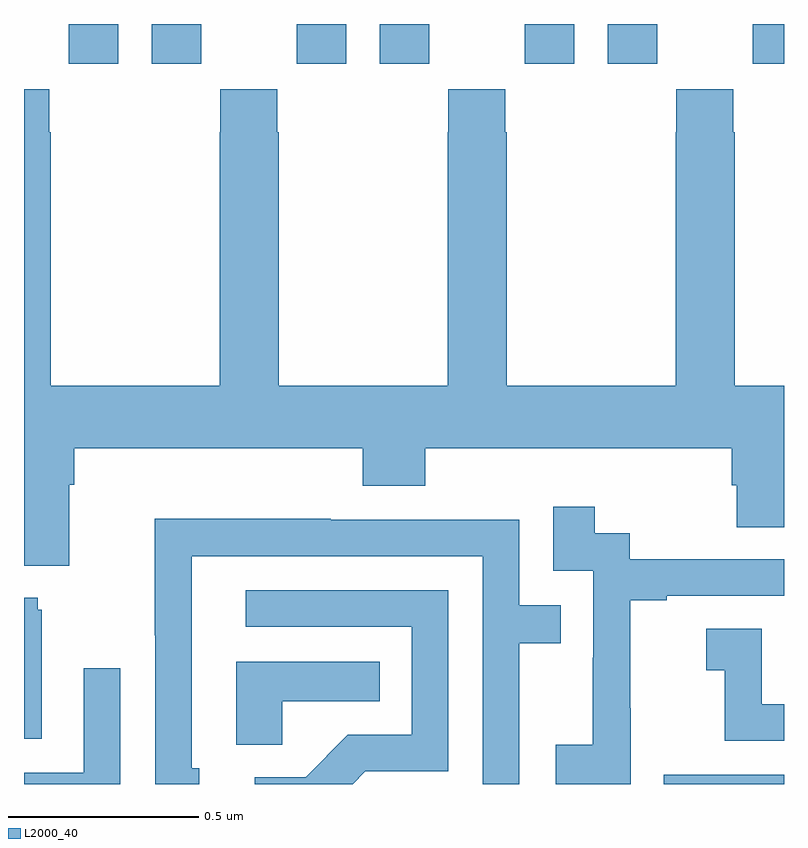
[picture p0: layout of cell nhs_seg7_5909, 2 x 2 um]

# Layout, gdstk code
import gdstk
lib = gdstk.Library(unit=1e-6, precision=1e-09)
def R(c, l, rs):  # rectangles x0, y0, x1, y1
    for r in rs: c.add(gdstk.rectangle(r[:2], r[2:], *l))
def P(c, l, *ps):  # polygons
    for p in ps: c.add(gdstk.Polygon(p, *l))
L2000_40 = (2000, 40)

nhs_seg7_5909 = lib.new_cell('nhs_seg7_5909')
R(nhs_seg7_5909, L2000_40, [(192.684,1065,193,1065.024), (191.118,1066.896,191.248,1067), (191.336,1066.896,191.466,1067), (191.718,1066.896,191.848,1067), (191.936,1066.896,192.066,1067), (192.318,1066.896,192.448,1067), (192.536,1066.896,192.666,1067), (192.918,1066.896,193,1067)])
P(nhs_seg7_5909, L2000_40, [(191.119,1065.788),(191.132,1065.788),(191.132,1065.884),(191.891,1065.884),(191.891,1065.785),(192.056,1065.785),(192.056,1065.884),(192.863,1065.884),(192.863,1065.786),(192.875,1065.786),(192.875,1065.676),(193,1065.676),(193,1066.048),(192.87,1066.048),(192.87,1066.715),(192.867,1066.715),(192.867,1066.828),(192.717,1066.828),(192.717,1066.715),(192.715,1066.715),(192.715,1066.048),(192.27,1066.048),(192.27,1066.715),(192.267,1066.715),(192.267,1066.828),(192.117,1066.828),(192.117,1066.715),(192.115,1066.715),(192.115,1066.048),(191.67,1066.048),(191.67,1066.715),(191.667,1066.715),(191.667,1066.828),(191.517,1066.828),(191.517,1066.715),(191.515,1066.715),(191.515,1066.048),(191.07,1066.048),(191.07,1066.715),(191.067,1066.715),(191.067,1066.828),(191,1066.828),(191,1065.575),(191.119,1065.575)],
  [(192.597,1065.199),(192.596,1065.199),(192.596,1065.483),(192.691,1065.483),(192.691,1065.495),(193,1065.495),(193,1065.591),(192.594,1065.591),(192.594,1065.66),(192.502,1065.66),(192.502,1065.73),(192.393,1065.73),(192.393,1065.561),(192.498,1065.561),(192.498,1065.332),(192.497,1065.332),(192.497,1065.103),(192.399,1065.103),(192.399,1065),(192.597,1065)],
  [(191.461,1065.042),(191.442,1065.042),(191.442,1065.6),(192.207,1065.6),(192.207,1065),(192.303,1065),(192.303,1065.37),(192.413,1065.37),(192.413,1065.471),(192.303,1065.471),(192.303,1065.696),(191.807,1065.696),(191.807,1065.698),(191.344,1065.698),(191.344,1065.391),(191.346,1065.391),(191.346,1065),(191.461,1065)],
  [(191.898,1065.033),(192.117,1065.033),(192.117,1065.51),(191.583,1065.51),(191.583,1065.414),(192.021,1065.414),(192.021,1065.129),(191.852,1065.129),(191.741,1065.018),(191.607,1065.018),(191.607,1065),(191.865,1065)],
  [(191.047,1065.459),(191.036,1065.459),(191.036,1065.49),(191,1065.49),(191,1065.119),(191.047,1065.119)],
  [(193,1065.21),(192.942,1065.21),(192.942,1065.409),(192.795,1065.409),(192.795,1065.299),(192.844,1065.299),(192.844,1065.114),(193,1065.114)],
  [(191.679,1065.218),(191.936,1065.218),(191.936,1065.322),(191.558,1065.322),(191.558,1065.103),(191.679,1065.103)],
  [(191.253,1065.304),(191.157,1065.304),(191.157,1065.03),(191,1065.03),(191,1065),(191.253,1065)])

lib.write_gds('nhs_seg7_5909.gds')
